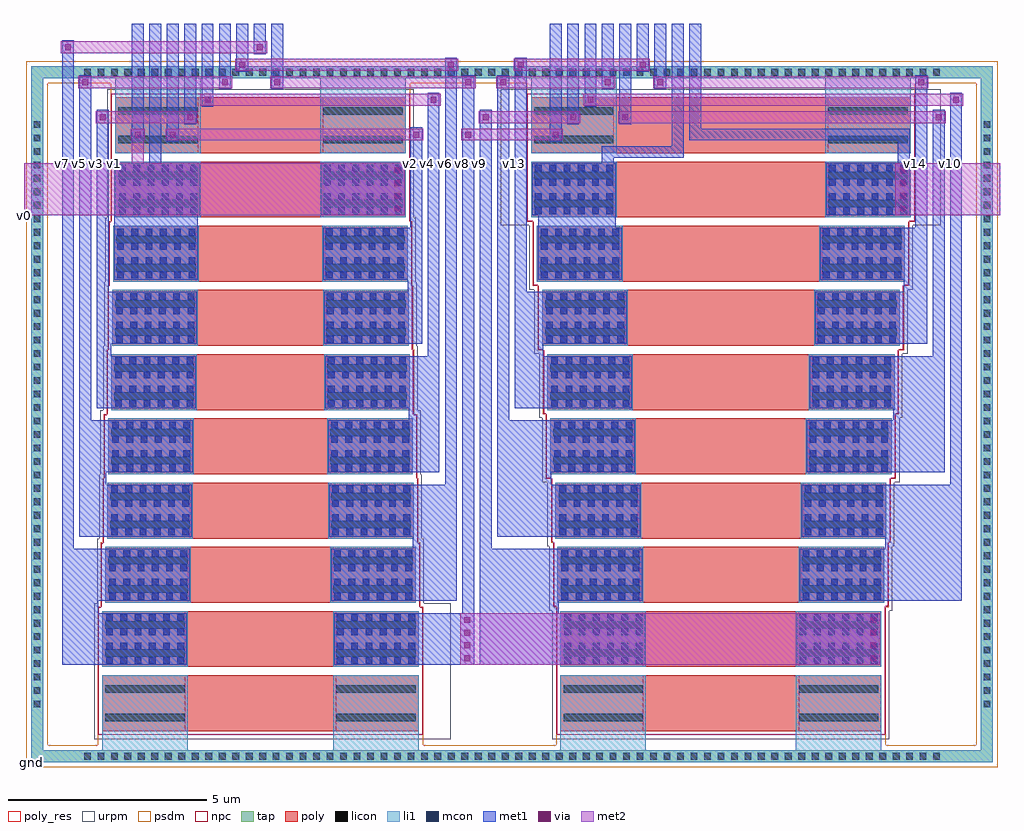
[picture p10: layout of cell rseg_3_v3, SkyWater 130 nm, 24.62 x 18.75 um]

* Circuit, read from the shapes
.subckt rseg_3_v3 gnd v0 v1 v10 v11 v12 v13 v14 v15 v16 v2 v3 v4 v5 v6 v7 v8 v9
XR1 gnd gnd gnd sky130_fd_pr__res_xhigh_po w=1.41 l=3.71
XR2 v8 v7 gnd sky130_fd_pr__res_xhigh_po w=1.41 l=3.71
XR3 v6 v7 gnd sky130_fd_pr__res_xhigh_po w=1.41 l=3.56
XR4 v6 v5 gnd sky130_fd_pr__res_xhigh_po w=1.41 l=3.46
XR5 v4 v5 gnd sky130_fd_pr__res_xhigh_po w=1.41 l=3.41
XR6 v4 v3 gnd sky130_fd_pr__res_xhigh_po w=1.41 l=3.25
XR7 v2 v3 gnd sky130_fd_pr__res_xhigh_po w=1.41 l=3.2
XR8 v2 v1 gnd sky130_fd_pr__res_xhigh_po w=1.41 l=3.15
XR9 v0 v1 gnd sky130_fd_pr__res_xhigh_po w=1.41 l=3.05
XR10 gnd gnd gnd sky130_fd_pr__res_xhigh_po w=1.41 l=3.05
XR11 v16 v15 gnd sky130_fd_pr__res_xhigh_po w=1.41 l=5.3
XR12 gnd gnd gnd sky130_fd_pr__res_xhigh_po w=1.41 l=5.3
XR13 v14 v15 gnd sky130_fd_pr__res_xhigh_po w=1.41 l=5
XR14 v14 v13 gnd sky130_fd_pr__res_xhigh_po w=1.41 l=4.74
XR15 v12 v13 gnd sky130_fd_pr__res_xhigh_po w=1.41 l=4.48
XR16 v12 v11 gnd sky130_fd_pr__res_xhigh_po w=1.41 l=4.33
XR17 v10 v11 gnd sky130_fd_pr__res_xhigh_po w=1.41 l=4.07
XR18 v10 v9 gnd sky130_fd_pr__res_xhigh_po w=1.41 l=3.97
XR19 gnd gnd gnd sky130_fd_pr__res_xhigh_po w=1.41 l=3.82
XR20 v8 v9 gnd sky130_fd_pr__res_xhigh_po w=1.41 l=3.82
.ends

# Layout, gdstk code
from math import pi, radians
import gdstk
lib = gdstk.Library(unit=1e-6, precision=1e-09)
def R(c, l, rs):  # rectangles x0, y0, x1, y1
    for r in rs: c.add(gdstk.rectangle(r[:2], r[2:], *l))
def A(c, l, x, y, w, h, nx, ny, dx, dy):  # array of equal rectangles
    R(c, l, [(x+i*dx, y+j*dy, x+i*dx+w, y+j*dy+h) for i in range(nx) for j in range(ny)])
tap = (65, 44)
poly_res = (66, 13)
poly = (66, 20)
licon = (66, 44)
li1 = (67, 20)
mcon = (67, 44)
met1 = (68, 20)
via = (68, 44)
met2 = (69, 20)
urpm = (79, 20)
psdm = (94, 20)
npc = (95, 20)

sky130_fd_pr__res_xhigh_ = lib.new_cell('sky130_fd_pr__res_xhigh_po_1p41_YY58WS')
R(sky130_fd_pr__res_xhigh_, poly_res, [(-0.705,-1.97,0.705,1.97)])
R(sky130_fd_pr__res_xhigh_, poly, [(-0.705,-4.05,0.705,4.05)])
R(sky130_fd_pr__res_xhigh_, licon, [(-0.45,-3.97,-0.26,-1.97), (0.26,-3.97,0.45,-1.97), (-0.45,1.97,-0.26,3.97), (0.26,1.97,0.45,3.97)])
R(sky130_fd_pr__res_xhigh_, li1, [(-0.705,-4.05,0.705,-1.89), (-0.705,1.89,0.705,4.05)])
R(sky130_fd_pr__res_xhigh_, urpm, [(-0.905,-4.25,0.905,4.25)])
R(sky130_fd_pr__res_xhigh_, psdm, [(-0.815,-4.16,0.815,4.16)])
R(sky130_fd_pr__res_xhigh_, npc, [(-0.8,-4.145,0.8,4.145)])

c_sky130_fd_pr__res_xhigh_ = lib.new_cell('sky130_fd_pr__res_xhigh_po_1p41_YY56WS')
R(c_sky130_fd_pr__res_xhigh_, poly_res, [(-0.705,-1.97,0.705,1.97)])
R(c_sky130_fd_pr__res_xhigh_, poly, [(-0.705,-4.05,0.705,4.05)])
R(c_sky130_fd_pr__res_xhigh_, licon, [(-0.45,-3.97,-0.26,-1.97), (0.26,-3.97,0.45,-1.97), (-0.45,1.97,-0.26,3.97), (0.26,1.97,0.45,3.97)])
R(c_sky130_fd_pr__res_xhigh_, li1, [(-0.705,-4.05,0.705,-1.89), (-0.705,1.89,0.705,4.05)])
A(c_sky130_fd_pr__res_xhigh_, mcon, -0.625, -3.955, 0.17, 0.17, 4, 6, 0.36, 0.36)
A(c_sky130_fd_pr__res_xhigh_, mcon, -0.625, 1.98, 0.17, 0.17, 4, 6, 0.36, 0.36)
R(c_sky130_fd_pr__res_xhigh_, met1, [(-0.655,-4.02,0.655,-1.915), (-0.655,1.915,0.655,4.02)])
R(c_sky130_fd_pr__res_xhigh_, urpm, [(-0.905,-4.25,0.905,4.25)])
R(c_sky130_fd_pr__res_xhigh_, psdm, [(-0.815,-4.16,0.815,4.16)])
R(c_sky130_fd_pr__res_xhigh_, npc, [(-0.8,-4.145,0.8,4.145)])

c_sky130_fd_pr__res_xhigh__ = lib.new_cell('sky130_fd_pr__res_xhigh_po_1p41_QX57C3')
R(c_sky130_fd_pr__res_xhigh__, poly_res, [(-0.705,-2.045,0.705,2.045)])
R(c_sky130_fd_pr__res_xhigh__, poly, [(-0.705,-4.125,0.705,4.125)])
R(c_sky130_fd_pr__res_xhigh__, licon, [(-0.45,-4.045,-0.26,-2.045), (0.26,-4.045,0.45,-2.045), (-0.45,2.045,-0.26,4.045), (0.26,2.045,0.45,4.045)])
R(c_sky130_fd_pr__res_xhigh__, li1, [(-0.705,-4.125,0.705,-1.965), (-0.705,1.965,0.705,4.125)])
A(c_sky130_fd_pr__res_xhigh__, mcon, -0.625, -4.03, 0.17, 0.17, 4, 6, 0.36, 0.36)
A(c_sky130_fd_pr__res_xhigh__, mcon, -0.625, 2.055, 0.17, 0.17, 4, 6, 0.36, 0.36)
R(c_sky130_fd_pr__res_xhigh__, met1, [(-0.655,-4.095,0.655,-1.99), (-0.655,1.99,0.655,4.095)])
R(c_sky130_fd_pr__res_xhigh__, urpm, [(-0.905,-4.325,0.905,4.325)])
R(c_sky130_fd_pr__res_xhigh__, psdm, [(-0.815,-4.235,0.815,4.235)])
R(c_sky130_fd_pr__res_xhigh__, npc, [(-0.8,-4.22,0.8,4.22)])

c_sky130_fd_pr__res_xhigh___ = lib.new_cell('sky130_fd_pr__res_xhigh_po_1p41_H2U5BC')
R(c_sky130_fd_pr__res_xhigh___, poly_res, [(-0.705,-2.095,0.705,2.095)])
R(c_sky130_fd_pr__res_xhigh___, poly, [(-0.705,-4.175,0.705,4.175)])
R(c_sky130_fd_pr__res_xhigh___, licon, [(-0.45,-4.095,-0.26,-2.095), (0.26,-4.095,0.45,-2.095), (-0.45,2.095,-0.26,4.095), (0.26,2.095,0.45,4.095)])
R(c_sky130_fd_pr__res_xhigh___, li1, [(-0.705,-4.175,0.705,-2.015), (-0.705,2.015,0.705,4.175)])
A(c_sky130_fd_pr__res_xhigh___, mcon, -0.625, -4.08, 0.17, 0.17, 4, 6, 0.36, 0.36)
A(c_sky130_fd_pr__res_xhigh___, mcon, -0.625, 2.105, 0.17, 0.17, 4, 6, 0.36, 0.36)
R(c_sky130_fd_pr__res_xhigh___, met1, [(-0.655,-4.145,0.655,-2.04), (-0.655,2.04,0.655,4.145)])
R(c_sky130_fd_pr__res_xhigh___, urpm, [(-0.905,-4.375,0.905,4.375)])
R(c_sky130_fd_pr__res_xhigh___, psdm, [(-0.815,-4.285,0.815,4.285)])
R(c_sky130_fd_pr__res_xhigh___, npc, [(-0.8,-4.27,0.8,4.27)])

c_sky130_fd_pr__res_xhigh____ = lib.new_cell('sky130_fd_pr__res_xhigh_po_1p41_E2U9YT')
R(c_sky130_fd_pr__res_xhigh____, poly_res, [(-0.705,-2.225,0.705,2.225)])
R(c_sky130_fd_pr__res_xhigh____, poly, [(-0.705,-4.305,0.705,4.305)])
R(c_sky130_fd_pr__res_xhigh____, licon, [(-0.45,-4.225,-0.26,-2.225), (0.26,-4.225,0.45,-2.225), (-0.45,2.225,-0.26,4.225), (0.26,2.225,0.45,4.225)])
R(c_sky130_fd_pr__res_xhigh____, li1, [(-0.705,-4.305,0.705,-2.145), (-0.705,2.145,0.705,4.305)])
A(c_sky130_fd_pr__res_xhigh____, mcon, -0.625, -4.21, 0.17, 0.17, 4, 6, 0.36, 0.36)
A(c_sky130_fd_pr__res_xhigh____, mcon, -0.625, 2.235, 0.17, 0.17, 4, 6, 0.36, 0.36)
R(c_sky130_fd_pr__res_xhigh____, met1, [(-0.655,-4.275,0.655,-2.17), (-0.655,2.17,0.655,4.275)])
R(c_sky130_fd_pr__res_xhigh____, urpm, [(-0.905,-4.505,0.905,4.505)])
R(c_sky130_fd_pr__res_xhigh____, psdm, [(-0.815,-4.415,0.815,4.415)])
R(c_sky130_fd_pr__res_xhigh____, npc, [(-0.8,-4.4,0.8,4.4)])

c_sky130_fd_pr__res_xhigh_____ = lib.new_cell('sky130_fd_pr__res_xhigh_po_1p41_5X5ZCF')
R(c_sky130_fd_pr__res_xhigh_____, poly_res, [(-0.705,-2.71,0.705,2.71)])
R(c_sky130_fd_pr__res_xhigh_____, poly, [(-0.705,-4.79,0.705,4.79)])
R(c_sky130_fd_pr__res_xhigh_____, licon, [(-0.45,-4.71,-0.26,-2.71), (0.26,-4.71,0.45,-2.71), (-0.45,2.71,-0.26,4.71), (0.26,2.71,0.45,4.71)])
R(c_sky130_fd_pr__res_xhigh_____, li1, [(-0.705,-4.79,0.705,-2.63), (-0.705,2.63,0.705,4.79)])
R(c_sky130_fd_pr__res_xhigh_____, urpm, [(-0.905,-4.99,0.905,4.99)])
R(c_sky130_fd_pr__res_xhigh_____, psdm, [(-0.815,-4.9,0.815,4.9)])
R(c_sky130_fd_pr__res_xhigh_____, npc, [(-0.8,-4.885,0.8,4.885)])

c_sky130_fd_pr__res_xhigh______ = lib.new_cell('sky130_fd_pr__res_xhigh_po_1p41_4F76E7')
R(c_sky130_fd_pr__res_xhigh______, poly_res, [(-0.705,-2.3,0.705,2.3)])
R(c_sky130_fd_pr__res_xhigh______, poly, [(-0.705,-4.38,0.705,4.38)])
R(c_sky130_fd_pr__res_xhigh______, licon, [(-0.45,-4.3,-0.26,-2.3), (0.26,-4.3,0.45,-2.3), (-0.45,2.3,-0.26,4.3), (0.26,2.3,0.45,4.3)])
R(c_sky130_fd_pr__res_xhigh______, li1, [(-0.705,-4.38,0.705,-2.22), (-0.705,2.22,0.705,4.38)])
A(c_sky130_fd_pr__res_xhigh______, mcon, -0.625, -4.285, 0.17, 0.17, 4, 6, 0.36, 0.36)
A(c_sky130_fd_pr__res_xhigh______, mcon, -0.625, 2.31, 0.17, 0.17, 4, 6, 0.36, 0.36)
R(c_sky130_fd_pr__res_xhigh______, met1, [(-0.655,-4.35,0.655,-2.245), (-0.655,2.245,0.655,4.35)])
R(c_sky130_fd_pr__res_xhigh______, urpm, [(-0.905,-4.58,0.905,4.58)])
R(c_sky130_fd_pr__res_xhigh______, psdm, [(-0.815,-4.49,0.815,4.49)])
R(c_sky130_fd_pr__res_xhigh______, npc, [(-0.8,-4.475,0.8,4.475)])

c_sky130_fd_pr__res_xhigh_______ = lib.new_cell('sky130_fd_pr__res_xhigh_po_1p41_KLD4QF')
R(c_sky130_fd_pr__res_xhigh_______, poly_res, [(-0.705,-2.43,0.705,2.43)])
R(c_sky130_fd_pr__res_xhigh_______, poly, [(-0.705,-4.51,0.705,4.51)])
R(c_sky130_fd_pr__res_xhigh_______, licon, [(-0.45,-4.43,-0.26,-2.43), (0.26,-4.43,0.45,-2.43), (-0.45,2.43,-0.26,4.43), (0.26,2.43,0.45,4.43)])
R(c_sky130_fd_pr__res_xhigh_______, li1, [(-0.705,-4.51,0.705,-2.35), (-0.705,2.35,0.705,4.51)])
A(c_sky130_fd_pr__res_xhigh_______, mcon, -0.625, -4.415, 0.17, 0.17, 4, 6, 0.36, 0.36)
A(c_sky130_fd_pr__res_xhigh_______, mcon, -0.625, 2.44, 0.17, 0.17, 4, 6, 0.36, 0.36)
R(c_sky130_fd_pr__res_xhigh_______, met1, [(-0.655,-4.48,0.655,-2.375), (-0.655,2.375,0.655,4.48)])
R(c_sky130_fd_pr__res_xhigh_______, urpm, [(-0.905,-4.71,0.905,4.71)])
R(c_sky130_fd_pr__res_xhigh_______, psdm, [(-0.815,-4.62,0.815,4.62)])
R(c_sky130_fd_pr__res_xhigh_______, npc, [(-0.8,-4.605,0.8,4.605)])

c_sky130_fd_pr__res_xhigh________ = lib.new_cell('sky130_fd_pr__res_xhigh_po_1p41_HDPFLR')
R(c_sky130_fd_pr__res_xhigh________, poly_res, [(-0.705,-2.56,0.705,2.56)])
R(c_sky130_fd_pr__res_xhigh________, poly, [(-0.705,-4.64,0.705,4.64)])
R(c_sky130_fd_pr__res_xhigh________, licon, [(-0.45,-4.56,-0.26,-2.56), (0.26,-4.56,0.45,-2.56), (-0.45,2.56,-0.26,4.56), (0.26,2.56,0.45,4.56)])
R(c_sky130_fd_pr__res_xhigh________, li1, [(-0.705,-4.64,0.705,-2.48), (-0.705,2.48,0.705,4.64)])
A(c_sky130_fd_pr__res_xhigh________, mcon, -0.625, -4.545, 0.17, 0.17, 4, 6, 0.36, 0.36)
A(c_sky130_fd_pr__res_xhigh________, mcon, -0.625, 2.57, 0.17, 0.17, 4, 6, 0.36, 0.36)
R(c_sky130_fd_pr__res_xhigh________, met1, [(-0.655,-4.61,0.655,-2.505), (-0.655,2.505,0.655,4.61)])
R(c_sky130_fd_pr__res_xhigh________, urpm, [(-0.905,-4.84,0.905,4.84)])
R(c_sky130_fd_pr__res_xhigh________, psdm, [(-0.815,-4.75,0.815,4.75)])
R(c_sky130_fd_pr__res_xhigh________, npc, [(-0.8,-4.735,0.8,4.735)])

c_sky130_fd_pr__res_xhigh_________ = lib.new_cell('sky130_fd_pr__res_xhigh_po_1p41_5X53DF')
R(c_sky130_fd_pr__res_xhigh_________, poly_res, [(-0.705,-2.71,0.705,2.71)])
R(c_sky130_fd_pr__res_xhigh_________, poly, [(-0.705,-4.79,0.705,4.79)])
R(c_sky130_fd_pr__res_xhigh_________, licon, [(-0.45,-4.71,-0.26,-2.71), (0.26,-4.71,0.45,-2.71), (-0.45,2.71,-0.26,4.71), (0.26,2.71,0.45,4.71)])
R(c_sky130_fd_pr__res_xhigh_________, li1, [(-0.705,-4.79,0.705,-2.63), (-0.705,2.63,0.705,4.79)])
A(c_sky130_fd_pr__res_xhigh_________, mcon, -0.625, -4.695, 0.17, 0.17, 4, 6, 0.36, 0.36)
A(c_sky130_fd_pr__res_xhigh_________, mcon, -0.625, 2.72, 0.17, 0.17, 4, 6, 0.36, 0.36)
R(c_sky130_fd_pr__res_xhigh_________, met1, [(-0.655,-4.76,0.655,-2.655), (-0.655,2.655,0.655,4.76)])
R(c_sky130_fd_pr__res_xhigh_________, urpm, [(-0.905,-4.99,0.905,4.99)])
R(c_sky130_fd_pr__res_xhigh_________, psdm, [(-0.815,-4.9,0.815,4.9)])
R(c_sky130_fd_pr__res_xhigh_________, npc, [(-0.8,-4.885,0.8,4.885)])

rseg_4_pin_left_v2 = lib.new_cell('rseg_4_pin_left_v2')
R(rseg_4_pin_left_v2, met1, [(49.785,-88.395,50.695,-85.465), (49.785,-85.465,50.085,-75.745), (50.225,-85.155,50.9,-82.225), (50.225,-82.225,50.525,-75.745), (50.665,-81.915,51.03,-78.985), (50.665,-78.985,50.965,-75.745)])

rseg_4_pin_right_even_v2 = lib.new_cell('rseg_4_pin_right_even_v2')
R(rseg_4_pin_right_even_v2, met1, [(50.495,-88.42,51.405,-85.49), (51.105,-85.49,51.405,-77.39), (50.29,-85.18,50.965,-82.25), (50.665,-82.25,50.965,-77.39), (50.16,-81.94,50.525,-79.01), (50.225,-79.01,50.525,-77.39)])

rseg_3_2 = lib.new_cell('rseg_3_2')
R(rseg_3_2, met1, [(41.315,-23.08,42.465,-21.77), (41.315,-21.77,42.39,-20.15), (50.58,-21.46,51.655,-20.15), (50.63,-20.15,51.655,-18.53), (41.52,-19.84,42.34,-18.53), (41.52,-18.53,42.21,-16.91), (50.76,-18.22,51.45,-16.91), (50.835,-16.91,51.45,-15.29), (41.65,-16.6,42.135,-15.29), (41.65,-15.29,42.005,-13.67), (50.965,-14.98,51.32,-13.67), (51.095,-13.67,51.32,-12.05), (41.875,-12.05,43.83,-11.74)])
R(rseg_3_2, urpm, [(40.935,-11.99,41.495,-8.56), (51.475,-11.99,52.035,-8.56)])
R(rseg_3_2, npc, [(42.34,-23.245,50.63,-23.225), (42.34,-21.625,50.63,-21.605), (42.265,-20.005,50.705,-19.985), (42.215,-18.385,50.755,-18.365), (42.085,-16.765,50.885,-16.745), (42.01,-15.145,50.96,-15.125), (41.88,-13.525,51.09,-13.505), (41.75,-11.905,51.22,-11.885), (41.6,-10.285,51.37,-10.265)])
rseg_3_2.add(gdstk.Reference(sky130_fd_pr__res_xhigh_, (46.485,-24.045), rotation=3*pi/2, x_reflection=True))
rseg_3_2.add(gdstk.Reference(c_sky130_fd_pr__res_xhigh_, (46.485,-22.425), rotation=3*pi/2, x_reflection=True))
rseg_3_2.add(gdstk.Reference(c_sky130_fd_pr__res_xhigh__, (46.485,-20.805), rotation=3*pi/2, x_reflection=True))
rseg_3_2.add(gdstk.Reference(c_sky130_fd_pr__res_xhigh___, (46.485,-19.185), rotation=3*pi/2, x_reflection=True))
rseg_3_2.add(gdstk.Reference(c_sky130_fd_pr__res_xhigh____, (46.485,-17.565), rotation=3*pi/2, x_reflection=True))
rseg_3_2.add(gdstk.Reference(c_sky130_fd_pr__res_xhigh_____, (46.485,-9.465), rotation=3*pi/2, x_reflection=True))
rseg_3_2.add(gdstk.Reference(c_sky130_fd_pr__res_xhigh______, (46.485,-15.945), rotation=3*pi/2, x_reflection=True))
rseg_3_2.add(gdstk.Reference(c_sky130_fd_pr__res_xhigh_______, (46.485,-14.325), rotation=3*pi/2, x_reflection=True))
rseg_3_2.add(gdstk.Reference(c_sky130_fd_pr__res_xhigh________, (46.485,-12.705), rotation=3*pi/2, x_reflection=True))
rseg_3_2.add(gdstk.Reference(c_sky130_fd_pr__res_xhigh_________, (46.485,-11.085), rotation=3*pi/2, x_reflection=True))
rseg_3_2.add(gdstk.Reference(rseg_4_pin_left_v2, (-9.38,65.315)))
rseg_3_2.add(gdstk.Reference(rseg_4_pin_right_even_v2, (1.16,66.96)))

c_sky130_fd_pr__res_xhigh__________ = lib.new_cell('sky130_fd_pr__res_xhigh_po_1p41_DZKNT5')
R(c_sky130_fd_pr__res_xhigh__________, poly_res, [(-0.705,-1.915,0.705,1.915)])
R(c_sky130_fd_pr__res_xhigh__________, poly, [(-0.705,-3.995,0.705,3.995)])
R(c_sky130_fd_pr__res_xhigh__________, licon, [(-0.45,-3.915,-0.26,-1.915), (0.26,-3.915,0.45,-1.915), (-0.45,1.915,-0.26,3.915), (0.26,1.915,0.45,3.915)])
R(c_sky130_fd_pr__res_xhigh__________, li1, [(-0.705,-3.995,0.705,-1.835), (-0.705,1.835,0.705,3.995)])
R(c_sky130_fd_pr__res_xhigh__________, urpm, [(-0.905,-4.195,0.905,4.195)])
R(c_sky130_fd_pr__res_xhigh__________, psdm, [(-0.815,-4.105,0.815,4.105)])
R(c_sky130_fd_pr__res_xhigh__________, npc, [(-0.8,-4.09,0.8,4.09)])

c_sky130_fd_pr__res_xhigh___________ = lib.new_cell('sky130_fd_pr__res_xhigh_po_1p41_AFTT8S')
R(c_sky130_fd_pr__res_xhigh___________, poly_res, [(-0.705,-1.765,0.705,1.765)])
R(c_sky130_fd_pr__res_xhigh___________, poly, [(-0.705,-3.845,0.705,3.845)])
R(c_sky130_fd_pr__res_xhigh___________, licon, [(-0.45,-3.765,-0.26,-1.765), (0.26,-3.765,0.45,-1.765), (-0.45,1.765,-0.26,3.765), (0.26,1.765,0.45,3.765)])
R(c_sky130_fd_pr__res_xhigh___________, li1, [(-0.705,-3.845,0.705,-1.685), (-0.705,1.685,0.705,3.845)])
A(c_sky130_fd_pr__res_xhigh___________, mcon, -0.625, -3.75, 0.17, 0.17, 4, 6, 0.36, 0.36)
A(c_sky130_fd_pr__res_xhigh___________, mcon, -0.625, 1.775, 0.17, 0.17, 4, 6, 0.36, 0.36)
R(c_sky130_fd_pr__res_xhigh___________, met1, [(-0.655,-3.815,0.655,-1.71), (-0.655,1.71,0.655,3.815)])
R(c_sky130_fd_pr__res_xhigh___________, urpm, [(-0.905,-4.045,0.905,4.045)])
R(c_sky130_fd_pr__res_xhigh___________, psdm, [(-0.815,-3.955,0.815,3.955)])
R(c_sky130_fd_pr__res_xhigh___________, npc, [(-0.8,-3.94,0.8,3.94)])

c_sky130_fd_pr__res_xhigh____________ = lib.new_cell('sky130_fd_pr__res_xhigh_po_1p41_J5YLPL')
R(c_sky130_fd_pr__res_xhigh____________, poly_res, [(-0.705,-1.79,0.705,1.79)])
R(c_sky130_fd_pr__res_xhigh____________, poly, [(-0.705,-3.87,0.705,3.87)])
R(c_sky130_fd_pr__res_xhigh____________, licon, [(-0.45,-3.79,-0.26,-1.79), (0.26,-3.79,0.45,-1.79), (-0.45,1.79,-0.26,3.79), (0.26,1.79,0.45,3.79)])
R(c_sky130_fd_pr__res_xhigh____________, li1, [(-0.705,-3.87,0.705,-1.71), (-0.705,1.71,0.705,3.87)])
A(c_sky130_fd_pr__res_xhigh____________, mcon, -0.625, -3.775, 0.17, 0.17, 4, 6, 0.36, 0.36)
A(c_sky130_fd_pr__res_xhigh____________, mcon, -0.625, 1.8, 0.17, 0.17, 4, 6, 0.36, 0.36)
R(c_sky130_fd_pr__res_xhigh____________, met1, [(-0.655,-3.84,0.655,-1.735), (-0.655,1.735,0.655,3.84)])
R(c_sky130_fd_pr__res_xhigh____________, urpm, [(-0.905,-4.07,0.905,4.07)])
R(c_sky130_fd_pr__res_xhigh____________, psdm, [(-0.815,-3.98,0.815,3.98)])
R(c_sky130_fd_pr__res_xhigh____________, npc, [(-0.8,-3.965,0.8,3.965)])

c_sky130_fd_pr__res_xhigh_____________ = lib.new_cell('sky130_fd_pr__res_xhigh_po_1p41_47PAZ6')
R(c_sky130_fd_pr__res_xhigh_____________, poly_res, [(-0.705,-1.84,0.705,1.84)])
R(c_sky130_fd_pr__res_xhigh_____________, poly, [(-0.705,-3.92,0.705,3.92)])
R(c_sky130_fd_pr__res_xhigh_____________, licon, [(-0.45,-3.84,-0.26,-1.84), (0.26,-3.84,0.45,-1.84), (-0.45,1.84,-0.26,3.84), (0.26,1.84,0.45,3.84)])
R(c_sky130_fd_pr__res_xhigh_____________, li1, [(-0.705,-3.92,0.705,-1.76), (-0.705,1.76,0.705,3.92)])
A(c_sky130_fd_pr__res_xhigh_____________, mcon, -0.625, -3.825, 0.17, 0.17, 4, 6, 0.36, 0.36)
A(c_sky130_fd_pr__res_xhigh_____________, mcon, -0.625, 1.85, 0.17, 0.17, 4, 6, 0.36, 0.36)
R(c_sky130_fd_pr__res_xhigh_____________, met1, [(-0.655,-3.89,0.655,-1.785), (-0.655,1.785,0.655,3.89)])
R(c_sky130_fd_pr__res_xhigh_____________, urpm, [(-0.905,-4.12,0.905,4.12)])
R(c_sky130_fd_pr__res_xhigh_____________, psdm, [(-0.815,-4.03,0.815,4.03)])
R(c_sky130_fd_pr__res_xhigh_____________, npc, [(-0.8,-4.015,0.8,4.015)])

c_sky130_fd_pr__res_xhigh______________ = lib.new_cell('sky130_fd_pr__res_xhigh_po_1p41_DZKLT5')
R(c_sky130_fd_pr__res_xhigh______________, poly_res, [(-0.705,-1.915,0.705,1.915)])
R(c_sky130_fd_pr__res_xhigh______________, poly, [(-0.705,-3.995,0.705,3.995)])
R(c_sky130_fd_pr__res_xhigh______________, licon, [(-0.45,-3.915,-0.26,-1.915), (0.26,-3.915,0.45,-1.915), (-0.45,1.915,-0.26,3.915), (0.26,1.915,0.45,3.915)])
R(c_sky130_fd_pr__res_xhigh______________, li1, [(-0.705,-3.995,0.705,-1.835), (-0.705,1.835,0.705,3.995)])
A(c_sky130_fd_pr__res_xhigh______________, mcon, -0.625, -3.9, 0.17, 0.17, 4, 6, 0.36, 0.36)
A(c_sky130_fd_pr__res_xhigh______________, mcon, -0.625, 1.925, 0.17, 0.17, 4, 6, 0.36, 0.36)
R(c_sky130_fd_pr__res_xhigh______________, met1, [(-0.655,-3.965,0.655,-1.86), (-0.655,1.86,0.655,3.965)])
R(c_sky130_fd_pr__res_xhigh______________, urpm, [(-0.905,-4.195,0.905,4.195)])
R(c_sky130_fd_pr__res_xhigh______________, psdm, [(-0.815,-4.105,0.815,4.105)])
R(c_sky130_fd_pr__res_xhigh______________, npc, [(-0.8,-4.09,0.8,4.09)])

c_sky130_fd_pr__res_xhigh_______________ = lib.new_cell('sky130_fd_pr__res_xhigh_po_1p41_SEMVNL')
R(c_sky130_fd_pr__res_xhigh_______________, poly_res, [(-0.705,-1.585,0.705,1.585)])
R(c_sky130_fd_pr__res_xhigh_______________, poly, [(-0.705,-3.665,0.705,3.665)])
R(c_sky130_fd_pr__res_xhigh_______________, licon, [(-0.45,-3.585,-0.26,-1.585), (0.26,-3.585,0.45,-1.585), (-0.45,1.585,-0.26,3.585), (0.26,1.585,0.45,3.585)])
R(c_sky130_fd_pr__res_xhigh_______________, li1, [(-0.705,-3.665,0.705,-1.505), (-0.705,1.505,0.705,3.665)])
R(c_sky130_fd_pr__res_xhigh_______________, urpm, [(-0.905,-3.865,0.905,3.865)])
R(c_sky130_fd_pr__res_xhigh_______________, psdm, [(-0.815,-3.775,0.815,3.775)])
R(c_sky130_fd_pr__res_xhigh_______________, npc, [(-0.8,-3.76,0.8,3.76)])

c_sky130_fd_pr__res_xhigh________________ = lib.new_cell('sky130_fd_pr__res_xhigh_po_1p41_SEMXNL')
R(c_sky130_fd_pr__res_xhigh________________, poly_res, [(-0.705,-1.585,0.705,1.585)])
R(c_sky130_fd_pr__res_xhigh________________, poly, [(-0.705,-3.665,0.705,3.665)])
R(c_sky130_fd_pr__res_xhigh________________, licon, [(-0.45,-3.585,-0.26,-1.585), (0.26,-3.585,0.45,-1.585), (-0.45,1.585,-0.26,3.585), (0.26,1.585,0.45,3.585)])
R(c_sky130_fd_pr__res_xhigh________________, li1, [(-0.705,-3.665,0.705,-1.505), (-0.705,1.505,0.705,3.665)])
A(c_sky130_fd_pr__res_xhigh________________, mcon, -0.625, -3.57, 0.17, 0.17, 4, 6, 0.36, 0.36)
A(c_sky130_fd_pr__res_xhigh________________, mcon, -0.625, 1.595, 0.17, 0.17, 4, 6, 0.36, 0.36)
R(c_sky130_fd_pr__res_xhigh________________, met1, [(-0.655,-3.635,0.655,-1.53), (-0.655,1.53,0.655,3.635)])
R(c_sky130_fd_pr__res_xhigh________________, urpm, [(-0.905,-3.865,0.905,3.865)])
R(c_sky130_fd_pr__res_xhigh________________, psdm, [(-0.815,-3.775,0.815,3.775)])
R(c_sky130_fd_pr__res_xhigh________________, npc, [(-0.8,-3.76,0.8,3.76)])

c_sky130_fd_pr__res_xhigh_________________ = lib.new_cell('sky130_fd_pr__res_xhigh_po_1p41_GLTCMD')
R(c_sky130_fd_pr__res_xhigh_________________, poly_res, [(-0.705,-1.635,0.705,1.635)])
R(c_sky130_fd_pr__res_xhigh_________________, poly, [(-0.705,-3.715,0.705,3.715)])
R(c_sky130_fd_pr__res_xhigh_________________, licon, [(-0.45,-3.635,-0.26,-1.635), (0.26,-3.635,0.45,-1.635), (-0.45,1.635,-0.26,3.635), (0.26,1.635,0.45,3.635)])
R(c_sky130_fd_pr__res_xhigh_________________, li1, [(-0.705,-3.715,0.705,-1.555), (-0.705,1.555,0.705,3.715)])
A(c_sky130_fd_pr__res_xhigh_________________, mcon, -0.625, -3.62, 0.17, 0.17, 4, 6, 0.36, 0.36)
A(c_sky130_fd_pr__res_xhigh_________________, mcon, -0.625, 1.645, 0.17, 0.17, 4, 6, 0.36, 0.36)
R(c_sky130_fd_pr__res_xhigh_________________, met1, [(-0.655,-3.685,0.655,-1.58), (-0.655,1.58,0.655,3.685)])
R(c_sky130_fd_pr__res_xhigh_________________, urpm, [(-0.905,-3.915,0.905,3.915)])
R(c_sky130_fd_pr__res_xhigh_________________, psdm, [(-0.815,-3.825,0.815,3.825)])
R(c_sky130_fd_pr__res_xhigh_________________, npc, [(-0.8,-3.81,0.8,3.81)])

c_sky130_fd_pr__res_xhigh__________________ = lib.new_cell('sky130_fd_pr__res_xhigh_po_1p41_42QADH')
R(c_sky130_fd_pr__res_xhigh__________________, poly_res, [(-0.705,-1.66,0.705,1.66)])
R(c_sky130_fd_pr__res_xhigh__________________, poly, [(-0.705,-3.74,0.705,3.74)])
R(c_sky130_fd_pr__res_xhigh__________________, licon, [(-0.45,-3.66,-0.26,-1.66), (0.26,-3.66,0.45,-1.66), (-0.45,1.66,-0.26,3.66), (0.26,1.66,0.45,3.66)])
R(c_sky130_fd_pr__res_xhigh__________________, li1, [(-0.705,-3.74,0.705,-1.58), (-0.705,1.58,0.705,3.74)])
A(c_sky130_fd_pr__res_xhigh__________________, mcon, -0.625, -3.645, 0.17, 0.17, 4, 6, 0.36, 0.36)
A(c_sky130_fd_pr__res_xhigh__________________, mcon, -0.625, 1.67, 0.17, 0.17, 4, 6, 0.36, 0.36)
R(c_sky130_fd_pr__res_xhigh__________________, met1, [(-0.655,-3.71,0.655,-1.605), (-0.655,1.605,0.655,3.71)])
R(c_sky130_fd_pr__res_xhigh__________________, urpm, [(-0.905,-3.94,0.905,3.94)])
R(c_sky130_fd_pr__res_xhigh__________________, psdm, [(-0.815,-3.85,0.815,3.85)])
R(c_sky130_fd_pr__res_xhigh__________________, npc, [(-0.8,-3.835,0.8,3.835)])

c_sky130_fd_pr__res_xhigh___________________ = lib.new_cell('sky130_fd_pr__res_xhigh_po_1p41_GVNVJY')
R(c_sky130_fd_pr__res_xhigh___________________, poly_res, [(-0.705,-1.685,0.705,1.685)])
R(c_sky130_fd_pr__res_xhigh___________________, poly, [(-0.705,-3.765,0.705,3.765)])
R(c_sky130_fd_pr__res_xhigh___________________, licon, [(-0.45,-3.685,-0.26,-1.685), (0.26,-3.685,0.45,-1.685), (-0.45,1.685,-0.26,3.685), (0.26,1.685,0.45,3.685)])
R(c_sky130_fd_pr__res_xhigh___________________, li1, [(-0.705,-3.765,0.705,-1.605), (-0.705,1.605,0.705,3.765)])
A(c_sky130_fd_pr__res_xhigh___________________, mcon, -0.625, -3.67, 0.17, 0.17, 4, 6, 0.36, 0.36)
A(c_sky130_fd_pr__res_xhigh___________________, mcon, -0.625, 1.695, 0.17, 0.17, 4, 6, 0.36, 0.36)
R(c_sky130_fd_pr__res_xhigh___________________, met1, [(-0.655,-3.735,0.655,-1.63), (-0.655,1.63,0.655,3.735)])
R(c_sky130_fd_pr__res_xhigh___________________, urpm, [(-0.905,-3.965,0.905,3.965)])
R(c_sky130_fd_pr__res_xhigh___________________, psdm, [(-0.815,-3.875,0.815,3.875)])
R(c_sky130_fd_pr__res_xhigh___________________, npc, [(-0.8,-3.86,0.8,3.86)])

rseg_4_pin_right_odd = lib.new_cell('rseg_4_pin_right_odd')
R(rseg_4_pin_right_odd, met1, [(50.495,-86.8,51.405,-85.49), (51.105,-85.49,51.405,-74.15), (50.29,-85.18,50.965,-82.25), (50.665,-82.25,50.965,-74.15), (50.16,-81.94,50.525,-79.01), (50.225,-79.01,50.525,-74.15), (49.72,-78.7,50.085,-75.77), (49.785,-75.77,50.085,-74.15)])

rseg_3_1 = lib.new_cell('rseg_3_1')
R(rseg_3_1, met1, [(23.725,-23.725,23.93,-22.415), (31.785,-23.725,32.305,-22.415), (23.725,-22.105,23.93,-20.795), (31.66,-22.105,32.1,-19.175), (23.93,-20.485,24.005,-19.175), (23.93,-18.865,24.005,-17.555), (31.555,-18.865,31.97,-15.935), (24.06,-17.245,24.085,-15.935), (24.06,-15.625,24.11,-14.315), (31.505,-14.005,31.53,-12.695), (24.135,-12.695,26.24,-12.385), (24.135,-12.385,24.185,-11.075)])
R(rseg_3_1, urpm, [(32.015,-25.595,32.615,-22.165)])
R(rseg_3_1, npc, [(23.73,-23.89,31.91,-23.87), (23.805,-22.27,31.835,-22.25), (23.855,-20.65,31.785,-20.63), (23.88,-19.03,31.76,-19.01), (23.96,-17.41,31.68,-17.39), (23.985,-15.79,31.655,-15.77), (24.01,-14.17,31.63,-14.15), (24.06,-12.55,31.58,-12.53), (24.06,-10.93,31.58,-10.91)])
rseg_3_1.add(gdstk.Reference(c_sky130_fd_pr__res_xhigh__________, (27.82,-24.69), rotation=3*pi/2, x_reflection=True))
rseg_3_1.add(gdstk.Reference(c_sky130_fd_pr__res_xhigh___________, (27.82,-18.21), rotation=pi/2))
rseg_3_1.add(gdstk.Reference(c_sky130_fd_pr__res_xhigh____________, (27.82,-19.83), rotation=3*pi/2, x_reflection=True))
rseg_3_1.add(gdstk.Reference(c_sky130_fd_pr__res_xhigh_____________, (27.82,-21.45), rotation=3*pi/2, x_reflection=True))
rseg_3_1.add(gdstk.Reference(c_sky130_fd_pr__res_xhigh______________, (27.82,-23.07), rotation=3*pi/2, x_reflection=True))
rseg_3_1.add(gdstk.Reference(c_sky130_fd_pr__res_xhigh_______________, (27.82,-10.11), rotation=pi/2))
rseg_3_1.add(gdstk.Reference(c_sky130_fd_pr__res_xhigh________________, (27.82,-11.73), rotation=pi/2))
rseg_3_1.add(gdstk.Reference(c_sky130_fd_pr__res_xhigh_________________, (27.82,-13.35), rotation=pi/2))
rseg_3_1.add(gdstk.Reference(c_sky130_fd_pr__res_xhigh__________________, (27.82,-14.97), rotation=pi/2))
rseg_3_1.add(gdstk.Reference(c_sky130_fd_pr__res_xhigh___________________, (27.82,-16.59), rotation=pi/2))
rseg_3_1.add(gdstk.Reference(rseg_4_pin_left_v2, (-26.97,64.67)))
rseg_3_1.add(gdstk.Reference(rseg_4_pin_right_odd, (-18.19,63.075)))

pin_8_odd_right = lib.new_cell('pin_8_odd_right')
R(pin_8_odd_right, met1, [(6.555,14.775,6.855,15.685), (6.995,14.775,7.295,16.565), (7.435,14.775,7.735,17.445)])
R(pin_8_odd_right, via, [(6.63,15.43,6.78,15.58), (7.07,16.31,7.22,16.46), (7.51,17.19,7.66,17.34)])
R(pin_8_odd_right, met2, [(5.285,15.355,6.885,15.655), (5.285,16.235,7.325,16.535), (5.285,17.115,7.765,17.415)])

pin_8_odd_right_ipo = lib.new_cell('pin_8_odd_right_ipo')
R(pin_8_odd_right_ipo, met1, [(66.52,-7.365,66.82,-6.045)])
R(pin_8_odd_right_ipo, via, [(66.595,-6.3,66.745,-6.15)])
A(pin_8_odd_right_ipo, met2, 63.33, -7.695, 0.6, 0.3, 1, 3, 0, 0.88)
R(pin_8_odd_right_ipo, met2, [(63.33,-6.375,66.85,-6.075)])
pin_8_odd_right_ipo.add(gdstk.Reference(pin_8_odd_right, (58.645,-23.05)))

pin_8_odd = lib.new_cell('pin_8_odd')
R(pin_8_odd, met1, [(0.445,14.775,0.745,17.885), (0.885,14.775,1.185,17.005), (1.325,14.775,1.625,16.125), (2.645,14.775,2.945,18.295), (2.205,15.325,2.505,18.295), (3.085,15.325,3.385,18.295), (3.525,15.765,3.825,18.295), (3.965,16.205,4.265,18.295), (4.405,16.645,4.705,18.295), (4.845,17.085,5.145,18.295), (5.285,17.525,5.585,18.295)])
R(pin_8_odd, via, [(2.28,15.43,2.43,15.58), (3.16,15.43,3.31,15.58), (1.4,15.87,1.55,16.02), (3.6,15.87,3.75,16.02), (4.04,16.31,4.19,16.46), (0.96,16.75,1.11,16.9), (4.48,16.75,4.63,16.9), (4.92,17.19,5.07,17.34), (0.52,17.63,0.67,17.78), (5.36,17.63,5.51,17.78)])
R(pin_8_odd, met2, [(2.205,14.775,2.505,15.355), (2.175,15.355,2.535,15.655), (3.055,15.355,6.105,15.655), (1.295,15.795,3.855,16.095), (3.935,16.235,6.105,16.535), (0.855,16.675,4.735,16.975), (4.815,17.115,6.105,17.415), (0.415,17.555,5.615,17.855)])

pin_8_odd_ipo_seg_2 = lib.new_cell('pin_8_odd_ipo_seg_2')
R(pin_8_odd_ipo_seg_2, met1, [(75.035,-4.79,75.335,-3.14)])
R(pin_8_odd_ipo_seg_2, via, [(75.11,-4.685,75.26,-4.535)])
R(pin_8_odd_ipo_seg_2, met2, [(75.415,-6.08,77.76,-5.78), (75.415,-5.2,77.76,-4.9), (75.005,-4.76,77.75,-4.46), (75.415,-4.32,77.75,-4.02)])
pin_8_odd_ipo_seg_2.add(gdstk.Reference(pin_8_odd, (69.31,-21.435)))

pin_8_even_rigth = lib.new_cell('pin_8_even_rigth')
R(pin_8_even_rigth, met1, [(14.535,14.775,14.835,17.005), (14.975,14.775,15.275,16.125), (15.415,14.775,15.715,16.565)])
R(pin_8_even_rigth, via, [(15.05,15.87,15.2,16.02), (15.49,16.31,15.64,16.46), (14.61,16.75,14.76,16.9)])
R(pin_8_even_rigth, met2, [(13.605,15.795,15.305,16.095), (13.605,16.235,15.745,16.535), (13.605,16.675,14.865,16.975)])

pin_8_even_right_ipo = lib.new_cell('pin_8_even_right_ipo')
R(pin_8_even_right_ipo, met1, [(84.43,-11.61,84.73,-11.03), (80.505,-11.03,84.73,-10.73)])
A(pin_8_even_right_ipo, met2, 80.505, -10.59, 3.435, 0.3, 1, 3, 0, 0.44)
pin_8_even_right_ipo.add(gdstk.Reference(pin_8_even_rigth, (70.335,-26.385)))

pin_8_even = lib.new_cell('pin_8_even')
R(pin_8_even, met1, [(7.875,14.775,8.175,15.685), (8.315,14.775,8.615,16.125), (8.755,14.775,9.055,17.005), (9.195,14.775,9.495,17.445), (11.395,14.775,11.695,14.915), (11.395,14.915,13.455,15.215), (13.155,15.215,13.455,18.295), (10.075,15.325,10.375,18.295), (10.515,15.765,10.815,18.295), (11.835,15.765,12.135,18.295), (10.955,16.205,11.255,18.295), (11.395,16.645,11.695,18.295), (12.715,16.645,13.015,18.295), (12.275,17.085,12.575,18.295)])
R(pin_8_even, via, [(7.95,15.43,8.1,15.58), (10.15,15.43,10.3,15.58), (8.39,15.87,8.54,16.02), (10.59,15.87,10.74,16.02), (11.91,15.87,12.06,16.02), (11.03,16.31,11.18,16.46), (8.83,16.75,8.98,16.9), (11.47,16.75,11.62,16.9), (12.79,16.75,12.94,16.9), (9.27,17.19,9.42,17.34), (12.35,17.19,12.5,17.34)])
R(pin_8_even, met2, [(7.845,15.355,10.405,15.655), (8.285,15.795,10.845,16.095), (11.805,15.795,13.98,16.095), (10.925,16.235,13.98,16.535), (8.725,16.675,11.725,16.975), (12.685,16.675,13.98,16.975), (9.165,17.115,12.605,17.415)])

pin_8_even_ipo = lib.new_cell('pin_8_even_ipo')
R(pin_8_even_ipo, met1, [(86.885,-6.18,90.175,-5.88), (86.885,-5.88,87.185,-3.24)])
A(pin_8_even_ipo, met2, 87.27, -5.74, 2.905, 0.3, 1, 3, 0, 0.44)
pin_8_even_ipo.add(gdstk.Reference(pin_8_even, (73.29,-21.535)))

rseg_3_v3 = lib.new_cell('rseg_3_v3')
R(rseg_3_v3, tap, [(62.57,-26.71,86.83,-26.41), (62.57,-26.41,62.87,-9.46), (86.53,-26.41,86.83,-9.46), (62.57,-9.46,86.83,-9.16)])
A(rseg_3_v3, licon, 63.905, -26.645, 0.17, 0.17, 64, 2, 0.34, 17.25)
A(rseg_3_v3, licon, 62.635, -25.33, 0.17, 0.17, 1, 44, 0, 0.34)
A(rseg_3_v3, licon, 86.595, -25.33, 0.17, 0.17, 1, 44, 0, 0.34)
R(rseg_3_v3, li1, [(62.57,-26.71,86.83,-26.41), (62.57,-26.41,62.87,-9.46), (64.36,-26.41,66.52,-25.93), (70.19,-26.41,72.35,-25.93), (75.92,-26.41,78.08,-25.93), (81.86,-26.41,84.02,-25.93), (86.53,-26.41,86.83,-9.46), (64.69,-9.94,66.85,-9.46), (69.86,-9.94,72.02,-9.46), (75.18,-9.94,77.34,-9.46), (82.6,-9.94,84.76,-9.46), (62.57,-9.46,86.83,-9.16)])
R(rseg_3_v3, met1, [(73.42,-24.26,73.72,-22.95), (83.66,-24.26,83.96,-22.95), (71.66,-12.92,71.96,-11.685), (84.4,-12.92,84.7,-11.61), (71.66,-11.685,71.99,-11.64), (71.66,-11.64,71.96,-11.61), (84.43,-11.61,84.73,-11.235)])
A(rseg_3_v3, via, 73.495, -24.16, 0.15, 0.15, 1, 4, 0, 0.32)
A(rseg_3_v3, via, 83.735, -24.16, 0.15, 0.15, 1, 4, 0, 0.32)
A(rseg_3_v3, via, 71.735, -12.82, 0.15, 0.15, 1, 4, 0, 0.32)
A(rseg_3_v3, via, 84.475, -12.82, 0.15, 0.15, 1, 4, 0, 0.32)
R(rseg_3_v3, met2, [(73.39,-24.26,83.99,-22.95), (62.39,-12.92,71.99,-11.61), (84.37,-12.92,87.01,-11.61)])
R(rseg_3_v3, psdm, [(62.445,-26.835,86.955,-26.285), (62.445,-26.285,62.995,-9.585), (64.25,-26.285,72.46,-26.04), (75.81,-26.285,84.13,-26.04), (86.405,-26.285,86.955,-9.585), (64.58,-9.83,72.13,-9.585), (75.07,-9.83,84.87,-9.585), (62.445,-9.585,86.955,-9.035)])
rseg_3_v3.add(gdstk.Reference(rseg_3_2, (33.485,-1.18)))
rseg_3_v3.add(gdstk.Reference(rseg_3_1, (40.535,-0.535)))
rseg_3_v3.add(gdstk.Reference(pin_8_odd_right_ipo, (6.93,-3.335)))
rseg_3_v3.add(gdstk.Reference(pin_8_odd_ipo_seg_2, (-6.405,-4.95)))
rseg_3_v3.add(gdstk.Reference(pin_8_even_right_ipo, (0,0)))
rseg_3_v3.add(gdstk.Reference(pin_8_even_ipo, (-7.715,-4.85)))
rseg_3_v3.add(gdstk.Label('v0', (62.39,-12.92), layer=69, texttype=5))
rseg_3_v3.add(gdstk.Label('v1', (64.67,-11.61), layer=68, texttype=5))
rseg_3_v3.add(gdstk.Label('v2', (72.13,-11.61), layer=68, texttype=5))
rseg_3_v3.add(gdstk.Label('v3', (64.23,-11.61), layer=68, texttype=5))
rseg_3_v3.add(gdstk.Label('v4', (72.57,-11.61), layer=68, texttype=5))
rseg_3_v3.add(gdstk.Label('v5', (63.79,-11.61), layer=68, texttype=5))
rseg_3_v3.add(gdstk.Label('v6', (73.01,-11.61), layer=68, texttype=5))
rseg_3_v3.add(gdstk.Label('v7', (63.35,-11.61), layer=68, texttype=5))
rseg_3_v3.add(gdstk.Label('v8', (73.45,-11.61), layer=68, texttype=5))
rseg_3_v3.add(gdstk.Label('v9', (73.89,-11.61), layer=68, texttype=5))
rseg_3_v3.add(gdstk.Label('v10', (85.75,-11.61), layer=68, texttype=5))
rseg_3_v3.add(gdstk.Label('v11', (74.33,-11.61), layer=68, texttype=5))
rseg_3_v3.add(gdstk.Label('v12', (85.31,-11.61), layer=68, texttype=5))
rseg_3_v3.add(gdstk.Label('v13', (74.77,-11.61), layer=68, texttype=5))
rseg_3_v3.add(gdstk.Label('v14', (84.87,-11.61), layer=68, texttype=5))
rseg_3_v3.add(gdstk.Label('v15', (75.21,-11.61), layer=68, texttype=5))
rseg_3_v3.add(gdstk.Label('v16', (84.43,-11.61), layer=68, texttype=5))
rseg_3_v3.add(gdstk.Label('gnd', (62.57,-26.71), layer=67, texttype=5))

lib.write_gds('rseg_3_v3.gds')
